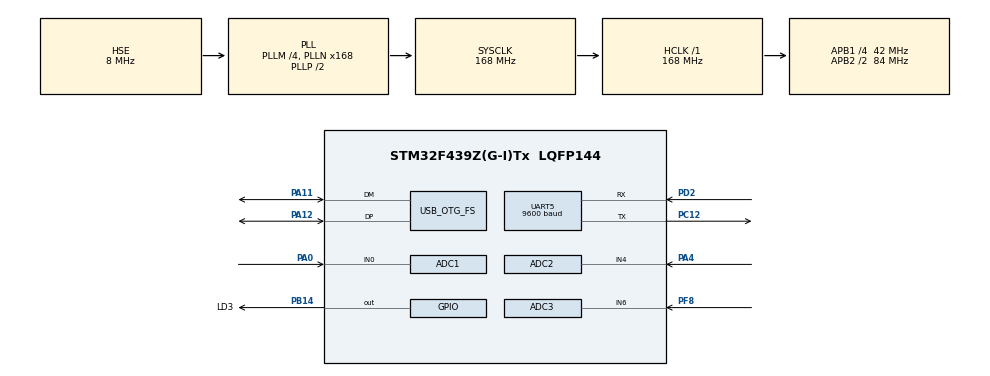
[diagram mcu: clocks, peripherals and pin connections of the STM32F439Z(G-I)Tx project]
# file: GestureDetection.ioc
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ADC1.Channel-1\#ChannelRegularConversion=ADC_CHANNEL_0
ADC1.ContinuousConvMode=ENABLE
ADC1.NbrOfConversionFlag=1
ADC1.Rank-1\#ChannelRegularConversion=1
ADC1.SamplingTime-1\#ChannelRegularConversion=ADC_SAMPLETIME_3CYCLES
ADC1.master=1
ADC2.Channel-0\#ChannelRegularConversion=ADC_CHANNEL_4
ADC2.ContinuousConvMode=ENABLE
ADC2.NbrOfConversionFlag=1
ADC2.Rank-0\#ChannelRegularConversion=1
ADC2.SamplingTime-0\#ChannelRegularConversion=ADC_SAMPLETIME_3CYCLES
ADC3.Channel-0\#ChannelRegularConversion=ADC_CHANNEL_6
ADC3.ContinuousConvMode=ENABLE
ADC3.NbrOfConversionFlag=1
ADC3.Rank-0\#ChannelRegularConversion=1
ADC3.SamplingTime-0\#ChannelRegularConversion=ADC_SAMPLETIME_3CYCLES
Dma.ADC1.0.Direction=DMA_PERIPH_TO_MEMORY
Dma.ADC1.0.FIFOMode=DMA_FIFOMODE_DISABLE
Dma.ADC1.0.Instance=DMA2_Stream0
Dma.ADC1.0.MemDataAlignment=DMA_MDATAALIGN_WORD
Dma.ADC1.0.MemInc=DMA_MINC_ENABLE
Dma.ADC1.0.Mode=DMA_CIRCULAR
Dma.ADC1.0.PeriphDataAlignment=DMA_PDATAALIGN_WORD
Dma.ADC1.0.PeriphInc=DMA_PINC_DISABLE
Dma.ADC1.0.Priority=DMA_PRIORITY_LOW
Dma.ADC2.1.Direction=DMA_PERIPH_TO_MEMORY
Dma.ADC2.1.FIFOMode=DMA_FIFOMODE_DISABLE
Dma.ADC2.1.Instance=DMA2_Stream2
Dma.ADC2.1.MemDataAlignment=DMA_MDATAALIGN_WORD
Dma.ADC2.1.MemInc=DMA_MINC_ENABLE
Dma.ADC2.1.Mode=DMA_CIRCULAR
Dma.ADC2.1.PeriphDataAlignment=DMA_PDATAALIGN_WORD
Dma.ADC2.1.PeriphInc=DMA_PINC_DISABLE
Dma.ADC2.1.Priority=DMA_PRIORITY_LOW
Dma.ADC3.2.Direction=DMA_PERIPH_TO_MEMORY
Dma.ADC3.2.FIFOMode=DMA_FIFOMODE_DISABLE
Dma.ADC3.2.Instance=DMA2_Stream1
Dma.ADC3.2.MemDataAlignment=DMA_MDATAALIGN_WORD
Dma.ADC3.2.MemInc=DMA_MINC_ENABLE
Dma.ADC3.2.Mode=DMA_CIRCULAR
Dma.ADC3.2.PeriphDataAlignment=DMA_PDATAALIGN_WORD
Dma.ADC3.2.PeriphInc=DMA_PINC_DISABLE
Dma.ADC3.2.Priority=DMA_PRIORITY_LOW
Dma.Request0=ADC1
Dma.Request1=ADC2
Dma.Request2=ADC3
Mcu.Family=STM32F4
Mcu.Name=STM32F439Z(G-I)Tx
Mcu.Package=LQFP144
NVIC.ADC_IRQn=true\:0\:0\:false\:false\:true\:true\:true\:true
NVIC.DMA2_Stream0_IRQn=true\:0\:0\:false\:false\:true\:false\:true\:true
NVIC.DMA2_Stream1_IRQn=true\:0\:0\:false\:false\:true\:false\:true\:true
NVIC.DMA2_Stream2_IRQn=true\:0\:0\:false\:false\:true\:false\:true\:true
NVIC.OTG_FS_IRQn=true\:0\:0\:false\:false\:true\:false\:true\:true
NVIC.PriorityGroup=NVIC_PRIORITYGROUP_4
PA0/WKUP.Signal=ADCx_IN0
PA11.Mode=Device_Only
PA11.Signal=USB_OTG_FS_DM
PA12.Mode=Device_Only
PA12.Signal=USB_OTG_FS_DP
PA2.Signal=ADCx_IN2
PA4.Signal=ADCx_IN4
PB14.GPIO_Label=LD3
PB14.Signal=GPIO_Output
PC12.Mode=Asynchronous
PC12.Signal=UART5_TX
PD2.Mode=Asynchronous
PD2.Signal=UART5_RX
PF8.Mode=IN6
PF8.Signal=ADC3_IN6
PH0/OSC_IN.Mode=HSE-External-Oscillator
PH0/OSC_IN.Signal=RCC_OSC_IN
PH1/OSC_OUT.Mode=HSE-External-Oscillator
PH1/OSC_OUT.Signal=RCC_OSC_OUT
ProjectManager.HeapSize=0x200
ProjectManager.StackSize=0x400
ProjectManager.TargetToolchain=STM32CubeIDE
RCC.48MHZClocksFreq_Value=48000000
RCC.AHBFreq_Value=168000000
RCC.APB1CLKDivider=RCC_HCLK_DIV4
RCC.APB1Freq_Value=42000000
RCC.APB1TimFreq_Value=84000000
RCC.APB2CLKDivider=RCC_HCLK_DIV2
RCC.APB2Freq_Value=84000000
RCC.APB2TimCLKDivider=2
RCC.APB2TimFreq_Value=168000000
RCC.CortexFreq_Value=168000000
RCC.HCLKFreq_Value=168000000
RCC.HSE_VALUE=8000000
RCC.HSI_VALUE=16000000
RCC.LSE_VALUE=32768
RCC.PLLM=4
RCC.PLLMUL=RCC_PLL_MUL9
RCC.PLLN=168
RCC.PLLQ=7
RCC.PRESCALERUSB=RCC_USBCLKSOURCE_PLL_DIV1_5
RCC.SYSCLKFreq_VALUE=168000000
RCC.SYSCLKSource=RCC_SYSCLKSOURCE_PLLCLK
RCC.SYSCLKSourceVirtual=RCC_SYSCLKSOURCE_PLLCLK
RCC.USBFreq_Value=48000000
RCC.VCOOutputFreq_Value=336000000
SH.ADCx_IN0.0=ADC1_IN0,IN0
SH.ADCx_IN2.0=ADC3_IN2
SH.ADCx_IN4.0=ADC2_IN4,IN4
UART5.BaudRate=9600
UART5.VirtualMode=Asynchronous
USB_DEVICE.CLASS_NAME_FS=CDC
USB_DEVICE.USBD_DEBUG_LEVEL-CDC_FS=3
USB_DEVICE.VirtualMode-CDC_FS=Cdc
USB_DEVICE.VirtualModeFS=Cdc_FS
USB_OTG_FS.VirtualMode=Device_Only
VP_USB_DEVICE_VS_USB_DEVICE_CDC_FS.Mode=CDC_FS
board=NUCLEO-F439ZI

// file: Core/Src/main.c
/* USER CODE BEGIN Header */
/**
  ******************************************************************************
  * @file           : main.c
  * @brief          : Main program body
  ******************************************************************************
  * @attention
  *
  * Copyright (c) 2023 STMicroelectronics.
  * All rights reserved.
  *
  * This software is licensed under terms that can be found in the LICENSE file
  * in the root directory of this software component.
  * If no LICENSE file comes with this software, it is provided AS-IS.
  *
  ******************************************************************************
  */
/* USER CODE END Header */
#include "main.h"
#include "usb_device.h"

/* USER CODE BEGIN Includes */
#include "usbd_cdc_if.h"
#include "string.h"
#include <stdio.h>
#include <stdlib.h>
/* USER CODE END Includes */

ADC_HandleTypeDef hadc1;
ADC_HandleTypeDef hadc2;
ADC_HandleTypeDef hadc3;
DMA_HandleTypeDef hdma_adc1;
DMA_HandleTypeDef hdma_adc2;
DMA_HandleTypeDef hdma_adc3;

UART_HandleTypeDef huart5;

void SystemClock_Config(void);
static void MX_GPIO_Init(void);
static void MX_DMA_Init(void);
static void MX_UART5_Init(void);
static void MX_ADC1_Init(void);
static void MX_ADC2_Init(void);
static void MX_ADC3_Init(void);

/* USER CODE BEGIN 0 */
uint8_t *data = "Running the data\n";
char *str;

/* USER CODE END 0 */

int main(void)
{

  /* MCU Configuration--------------------------------------------------------*/

  /* Reset of all peripherals, Initializes the Flash interface and the Systick. */
  HAL_Init();

  /* USER CODE BEGIN Init */
  void LD3_On() {
  	/* USER CODE END WHILE */
  	HAL_GPIO_WritePin(GPIOB, LD3_Pin, GPIO_PIN_SET);
  }

  void LD3_Off() {
  	HAL_GPIO_WritePin(GPIOB, LD3_Pin, GPIO_PIN_RESET);
  }
  void Delay(int d) {
  	HAL_Delay(d);
  }
  /* USER CODE END Init */

  /* Configure the system clock */
  SystemClock_Config();

  /* Initialize all configured peripherals */
  MX_GPIO_Init();
  MX_DMA_Init();
  MX_UART5_Init();
  MX_USB_DEVICE_Init();
  MX_ADC1_Init();
  MX_ADC2_Init();
  MX_ADC3_Init();
  /* USER CODE BEGIN 2 */
  int adc_val1;
  int adc_val2;
  int adc_val3;
  int count = 0;
  /* USER CODE END 2 */

  /* Infinite loop */
  /* USER CODE BEGIN WHILE */
  while (1)
  {
	  char str1[20];

	     /* Allocate memory for the string */
	  str = (char *) malloc(100 * sizeof(char));
	  HAL_ADC_Start(&hadc1);
	  HAL_ADC_PollForConversion(&hadc1, 100);

	  HAL_ADC_Start(&hadc2);
	  HAL_ADC_PollForConversion(&hadc2, 100);

	  HAL_ADC_Start(&hadc3);
	  HAL_ADC_PollForConversion(&hadc3, 100);

	  adc_val1=0;
	  adc_val2=0;
	  adc_val3=0;

	  adc_val1 = HAL_ADC_GetValue(&hadc1);
	  adc_val2 = HAL_ADC_GetValue(&hadc2);
	  adc_val3 = HAL_ADC_GetValue(&hadc3);

	  count = count + 1;

	  if (count%2==0){
			  LD3_On();
			  sprintf(str, "%d,%d,%d\n", adc_val1, adc_val2, adc_val3);
			  CDC_Transmit_FS(str, strlen(str));
			  HAL_Delay (500);
	  } else {
		  LD3_Off();
		  HAL_Delay (500);
	  }

//	  HAL_Delay(200);
//	  for(int i = 0 ; i <10 ; i++){
//		  char str[20]; // create a char array to hold the string
//
//		  sprintf(str, "%d", i); // convert integer to string
//		  char n = 'a';
//	  	  CDC_Transmit_FS(n, strlen(n));
//	  	  HAL_Delay (1000);
//	  	  LD3_On();
//	  	  Delay(100);
//	  	  LD3_Off();
//	  	  Delay(100);
//	  }
    /* USER CODE END WHILE */

  }
}

void SystemClock_Config(void)
{
  RCC_OscInitTypeDef RCC_OscInitStruct = {0};
  RCC_ClkInitTypeDef RCC_ClkInitStruct = {0};

  /** Configure the main internal regulator output voltage
  */
  __HAL_RCC_PWR_CLK_ENABLE();
  __HAL_PWR_VOLTAGESCALING_CONFIG(PWR_REGULATOR_VOLTAGE_SCALE1);

  /** Initializes the RCC Oscillators according to the specified parameters
  * in the RCC_OscInitTypeDef structure.
  */
  RCC_OscInitStruct.OscillatorType = RCC_OSCILLATORTYPE_HSE;
  RCC_OscInitStruct.HSEState = RCC_HSE_ON;
  RCC_OscInitStruct.PLL.PLLState = RCC_PLL_ON;
  RCC_OscInitStruct.PLL.PLLSource = RCC_PLLSOURCE_HSE;
  RCC_OscInitStruct.PLL.PLLM = 4;
  RCC_OscInitStruct.PLL.PLLN = 168;
  RCC_OscInitStruct.PLL.PLLP = RCC_PLLP_DIV2;
  RCC_OscInitStruct.PLL.PLLQ = 7;
  if (HAL_RCC_OscConfig(&RCC_OscInitStruct) != HAL_OK)
  {
    Error_Handler();
  }

  /** Initializes the CPU, AHB and APB buses clocks
  */
  RCC_ClkInitStruct.ClockType = RCC_CLOCKTYPE_HCLK|RCC_CLOCKTYPE_SYSCLK
                              |RCC_CLOCKTYPE_PCLK1|RCC_CLOCKTYPE_PCLK2;
  RCC_ClkInitStruct.SYSCLKSource = RCC_SYSCLKSOURCE_PLLCLK;
  RCC_ClkInitStruct.AHBCLKDivider = RCC_SYSCLK_DIV1;
  RCC_ClkInitStruct.APB1CLKDivider = RCC_HCLK_DIV4;
  RCC_ClkInitStruct.APB2CLKDivider = RCC_HCLK_DIV2;

  if (HAL_RCC_ClockConfig(&RCC_ClkInitStruct, FLASH_LATENCY_5) != HAL_OK)
  {
    Error_Handler();
  }
}

static void MX_ADC1_Init(void)
{

  ADC_ChannelConfTypeDef sConfig = {0};

  /** Configure the global features of the ADC (Clock, Resolution, Data Alignment and number of conversion)
  */
  hadc1.Instance = ADC1;
  hadc1.Init.ClockPrescaler = ADC_CLOCK_SYNC_PCLK_DIV4;
  hadc1.Init.Resolution = ADC_RESOLUTION_12B;
  hadc1.Init.ScanConvMode = DISABLE;
  hadc1.Init.ContinuousConvMode = ENABLE;
  hadc1.Init.DiscontinuousConvMode = DISABLE;
  hadc1.Init.ExternalTrigConvEdge = ADC_EXTERNALTRIGCONVEDGE_NONE;
  hadc1.Init.ExternalTrigConv = ADC_SOFTWARE_START;
  hadc1.Init.DataAlign = ADC_DATAALIGN_RIGHT;
  hadc1.Init.NbrOfConversion = 1;
  hadc1.Init.DMAContinuousRequests = DISABLE;
  hadc1.Init.EOCSelection = ADC_EOC_SINGLE_CONV;
  if (HAL_ADC_Init(&hadc1) != HAL_OK)
  {
    Error_Handler();
  }

  /** Configure for the selected ADC regular channel its corresponding rank in the sequencer and its sample time.
  */
  sConfig.Channel = ADC_CHANNEL_0;
  sConfig.Rank = 1;
  sConfig.SamplingTime = ADC_SAMPLETIME_3CYCLES;
  if (HAL_ADC_ConfigChannel(&hadc1, &sConfig) != HAL_OK)
  {
    Error_Handler();
  }

}

static void MX_ADC2_Init(void)
{

  ADC_ChannelConfTypeDef sConfig = {0};

  /** Configure the global features of the ADC (Clock, Resolution, Data Alignment and number of conversion)
  */
  hadc2.Instance = ADC2;
  hadc2.Init.ClockPrescaler = ADC_CLOCK_SYNC_PCLK_DIV4;
  hadc2.Init.Resolution = ADC_RESOLUTION_12B;
  hadc2.Init.ScanConvMode = DISABLE;
  hadc2.Init.ContinuousConvMode = ENABLE;
  hadc2.Init.DiscontinuousConvMode = DISABLE;
  hadc2.Init.ExternalTrigConvEdge = ADC_EXTERNALTRIGCONVEDGE_NONE;
  hadc2.Init.ExternalTrigConv = ADC_SOFTWARE_START;
  hadc2.Init.DataAlign = ADC_DATAALIGN_RIGHT;
  hadc2.Init.NbrOfConversion = 1;
  hadc2.Init.DMAContinuousRequests = DISABLE;
  hadc2.Init.EOCSelection = ADC_EOC_SINGLE_CONV;
  if (HAL_ADC_Init(&hadc2) != HAL_OK)
  {
    Error_Handler();
  }

  /** Configure for the selected ADC regular channel its corresponding rank in the sequencer and its sample time.
  */
  sConfig.Channel = ADC_CHANNEL_4;
  sConfig.Rank = 1;
  sConfig.SamplingTime = ADC_SAMPLETIME_3CYCLES;
  if (HAL_ADC_ConfigChannel(&hadc2, &sConfig) != HAL_OK)
  {
    Error_Handler();
  }

}

static void MX_ADC3_Init(void)
{

  ADC_ChannelConfTypeDef sConfig = {0};

  /** Configure the global features of the ADC (Clock, Resolution, Data Alignment and number of conversion)
  */
  hadc3.Instance = ADC3;
  hadc3.Init.ClockPrescaler = ADC_CLOCK_SYNC_PCLK_DIV4;
  hadc3.Init.Resolution = ADC_RESOLUTION_12B;
  hadc3.Init.ScanConvMode = DISABLE;
  hadc3.Init.ContinuousConvMode = ENABLE;
  hadc3.Init.DiscontinuousConvMode = DISABLE;
  hadc3.Init.ExternalTrigConvEdge = ADC_EXTERNALTRIGCONVEDGE_NONE;
  hadc3.Init.ExternalTrigConv = ADC_SOFTWARE_START;
  hadc3.Init.DataAlign = ADC_DATAALIGN_RIGHT;
  hadc3.Init.NbrOfConversion = 1;
  hadc3.Init.DMAContinuousRequests = DISABLE;
  hadc3.Init.EOCSelection = ADC_EOC_SINGLE_CONV;
  if (HAL_ADC_Init(&hadc3) != HAL_OK)
  {
    Error_Handler();
  }

  /** Configure for the selected ADC regular channel its corresponding rank in the sequencer and its sample time.
  */
  sConfig.Channel = ADC_CHANNEL_6;
  sConfig.Rank = 1;
  sConfig.SamplingTime = ADC_SAMPLETIME_3CYCLES;
  if (HAL_ADC_ConfigChannel(&hadc3, &sConfig) != HAL_OK)
  {
    Error_Handler();
  }

}

static void MX_UART5_Init(void)
{

  huart5.Instance = UART5;
  huart5.Init.BaudRate = 9600;
  huart5.Init.WordLength = UART_WORDLENGTH_8B;
  huart5.Init.StopBits = UART_STOPBITS_1;
  huart5.Init.Parity = UART_PARITY_NONE;
  huart5.Init.Mode = UART_MODE_TX_RX;
  huart5.Init.HwFlowCtl = UART_HWCONTROL_NONE;
  huart5.Init.OverSampling = UART_OVERSAMPLING_16;
  if (HAL_UART_Init(&huart5) != HAL_OK)
  {
    Error_Handler();
  }

}

static void MX_DMA_Init(void)
{

  /* DMA controller clock enable */
  __HAL_RCC_DMA2_CLK_ENABLE();

  /* DMA interrupt init */
  /* DMA2_Stream0_IRQn interrupt configuration */
  HAL_NVIC_SetPriority(DMA2_Stream0_IRQn, 0, 0);
  HAL_NVIC_EnableIRQ(DMA2_Stream0_IRQn);
  /* DMA2_Stream1_IRQn interrupt configuration */
  HAL_NVIC_SetPriority(DMA2_Stream1_IRQn, 0, 0);
  HAL_NVIC_EnableIRQ(DMA2_Stream1_IRQn);
  /* DMA2_Stream2_IRQn interrupt configuration */
  HAL_NVIC_SetPriority(DMA2_Stream2_IRQn, 0, 0);
  HAL_NVIC_EnableIRQ(DMA2_Stream2_IRQn);

}

static void MX_GPIO_Init(void)
{
  GPIO_InitTypeDef GPIO_InitStruct = {0};

  /* GPIO Ports Clock Enable */
  __HAL_RCC_GPIOF_CLK_ENABLE();
  __HAL_RCC_GPIOH_CLK_ENABLE();
  __HAL_RCC_GPIOA_CLK_ENABLE();
  __HAL_RCC_GPIOB_CLK_ENABLE();
  __HAL_RCC_GPIOC_CLK_ENABLE();
  __HAL_RCC_GPIOD_CLK_ENABLE();

  /*Configure GPIO pin Output Level */
  HAL_GPIO_WritePin(LD3_GPIO_Port, LD3_Pin, GPIO_PIN_RESET);

  /*Configure GPIO pin : LD3_Pin */
  GPIO_InitStruct.Pin = LD3_Pin;
  GPIO_InitStruct.Mode = GPIO_MODE_OUTPUT_PP;
  GPIO_InitStruct.Pull = GPIO_NOPULL;
  GPIO_InitStruct.Speed = GPIO_SPEED_FREQ_LOW;
  HAL_GPIO_Init(LD3_GPIO_Port, &GPIO_InitStruct);

}

void Error_Handler(void)
{
  __disable_irq();
  while (1)
  {
  }
}
